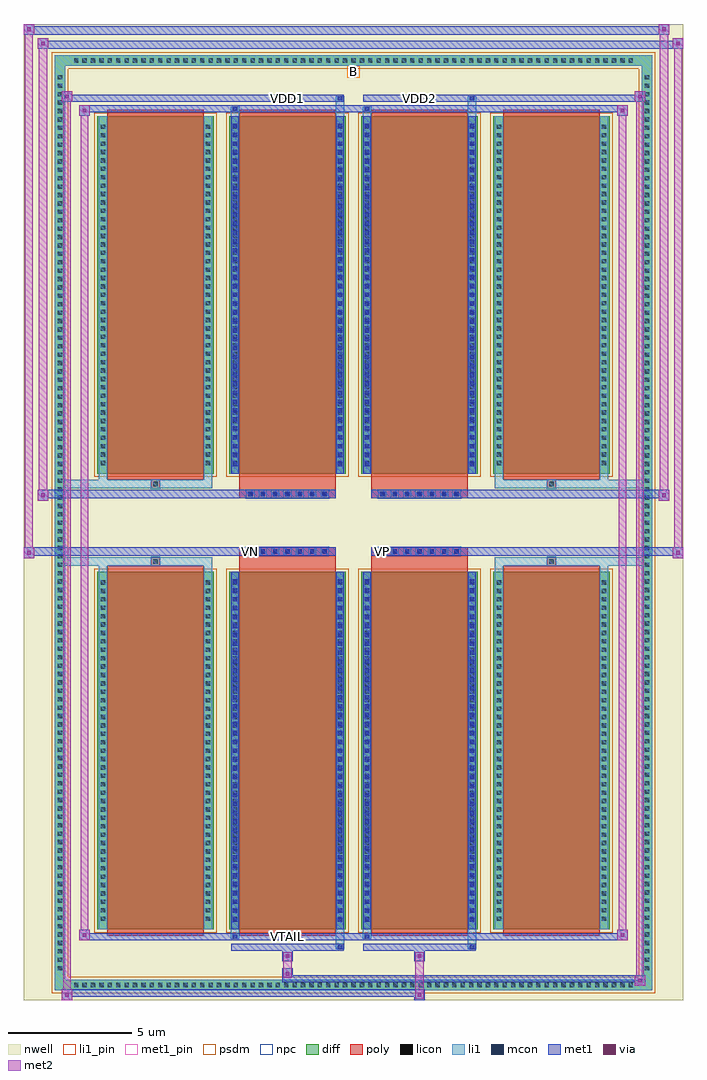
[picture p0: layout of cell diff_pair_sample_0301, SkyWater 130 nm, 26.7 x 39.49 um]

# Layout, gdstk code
import gdstk
lib = gdstk.Library(unit=1e-6, precision=5e-09)
def R(c, l, rs):  # rectangles x0, y0, x1, y1
    for r in rs: c.add(gdstk.rectangle(r[:2], r[2:], *l))
def A(c, l, x, y, w, h, nx, ny, dx, dy):  # array of equal rectangles
    R(c, l, [(x+i*dx, y+j*dy, x+i*dx+w, y+j*dy+h) for i in range(nx) for j in range(ny)])
def P(c, l, *ps):  # polygons
    for p in ps: c.add(gdstk.Polygon(p, *l))
nwell = (64, 20)
diff = (65, 20)
poly = (66, 20)
licon = (66, 44)
li1_pin = (67, 16)
li1 = (67, 20)
mcon = (67, 44)
met1_pin = (68, 16)
met1 = (68, 20)
via = (68, 44)
met2 = (69, 20)
psdm = (94, 20)
npc = (95, 20)

diff_pair_sample_0301 = lib.new_cell('diff_pair_sample_0301')
R(diff_pair_sample_0301, nwell, [(-13.35,-19.31,13.35,20.18), (-10.67,-17.5,-0.01,-0.8), (0.01,-17.5,10.67,-0.8), (-10.67,0.8,-0.01,17.5), (0.01,0.8,10.67,17.5)])
A(diff_pair_sample_0301, diff, -11.425, -18.91, 0.41, 0.41, 67, 2, 0.34, 37.41)
A(diff_pair_sample_0301, diff, -12.08, -18.225, 0.41, 0.41, 1, 107, 0, 0.34)
A(diff_pair_sample_0301, diff, 11.67, -18.225, 0.41, 0.41, 1, 107, 0, 0.34)
A(diff_pair_sample_0301, diff, -10.36, -16.455, 4.7, 14.47, 4, 2, 5.34, 18.44)
R(diff_pair_sample_0301, diff, [(-11.425,-18.91,11.425,-18.5), (-12.08,-18.225,-11.67,18.225), (11.67,-18.225,12.08,18.225), (-11.425,18.5,11.425,18.91)])
P(diff_pair_sample_0301, diff, [(12.08,18.91),(-12.08,18.91),(-12.08,-18.5),(-11.67,-18.5),(-11.67,18.5),(11.67,18.5),(11.67,-18.5),(-11.67,-18.5),(-12.08,-18.5),(-12.08,-18.91),(12.08,-18.91)])
A(diff_pair_sample_0301, poly, -9.97, -16.705, 3.92, 14.97, 4, 2, 5.34, 18.44)
A(diff_pair_sample_0301, poly, -4.335, -1.33, 0.33, 0.33, 7, 2, 0.5, 2.33)
A(diff_pair_sample_0301, poly, 1.005, -1.33, 0.33, 0.33, 7, 2, 0.5, 2.33)
R(diff_pair_sample_0301, poly, [(-8.175,-1.735,-7.845,-1.405), (-8.175,-1.735,-7.845,-1.405), (-4.63,-1.735,-0.71,-1.33), (0.71,-1.735,4.63,-1.33), (7.845,-1.735,8.175,-1.405), (7.845,-1.735,8.175,-1.405), (-4.63,-1.33,-0.71,-1), (0.71,-1.33,4.63,-1), (-4.63,1,-0.71,1.33), (0.71,1,4.63,1.33), (-4.63,1.33,-0.71,1.735), (0.71,1.33,4.63,1.735), (-8.175,1.405,-7.845,1.735), (-8.175,1.405,-7.845,1.735), (7.845,1.405,8.175,1.735), (7.845,1.405,8.175,1.735)])
A(diff_pair_sample_0301, licon, -11.305, -18.79, 0.17, 0.17, 67, 2, 0.34, 37.41)
A(diff_pair_sample_0301, licon, -11.96, -18.105, 0.17, 0.17, 1, 107, 0, 0.34)
A(diff_pair_sample_0301, licon, 11.79, -18.105, 0.17, 0.17, 1, 107, 0, 0.34)
A(diff_pair_sample_0301, licon, -10.22, -16.105, 0.17, 0.17, 1, 41, 0, 0.34)
A(diff_pair_sample_0301, licon, -5.97, -16.105, 0.17, 0.17, 1, 41, 0, 0.34)
A(diff_pair_sample_0301, licon, -4.88, -16.105, 0.17, 0.17, 1, 41, 0, 0.34)
A(diff_pair_sample_0301, licon, -0.63, -16.105, 0.17, 0.17, 1, 41, 0, 0.34)
A(diff_pair_sample_0301, licon, 0.46, -16.105, 0.17, 0.17, 1, 41, 0, 0.34)
A(diff_pair_sample_0301, licon, 4.71, -16.105, 0.17, 0.17, 1, 41, 0, 0.34)
A(diff_pair_sample_0301, licon, 5.8, -16.105, 0.17, 0.17, 1, 41, 0, 0.34)
A(diff_pair_sample_0301, licon, 10.05, -16.105, 0.17, 0.17, 1, 41, 0, 0.34)
A(diff_pair_sample_0301, licon, -4.255, -1.25, 0.17, 0.17, 7, 2, 0.5, 2.33)
A(diff_pair_sample_0301, licon, 1.085, -1.25, 0.17, 0.17, 7, 2, 0.5, 2.33)
A(diff_pair_sample_0301, licon, -10.22, 2.335, 0.17, 0.17, 1, 41, 0, 0.34)
A(diff_pair_sample_0301, licon, -5.97, 2.335, 0.17, 0.17, 1, 41, 0, 0.34)
A(diff_pair_sample_0301, licon, -4.88, 2.335, 0.17, 0.17, 1, 41, 0, 0.34)
A(diff_pair_sample_0301, licon, -0.63, 2.335, 0.17, 0.17, 1, 41, 0, 0.34)
A(diff_pair_sample_0301, licon, 0.46, 2.335, 0.17, 0.17, 1, 41, 0, 0.34)
A(diff_pair_sample_0301, licon, 4.71, 2.335, 0.17, 0.17, 1, 41, 0, 0.34)
A(diff_pair_sample_0301, licon, 5.8, 2.335, 0.17, 0.17, 1, 41, 0, 0.34)
A(diff_pair_sample_0301, licon, 10.05, 2.335, 0.17, 0.17, 1, 41, 0, 0.34)
R(diff_pair_sample_0301, licon, [(-8.095,-1.655,-7.925,-1.485), (7.925,-1.655,8.095,-1.485), (-8.095,1.485,-7.925,1.655), (7.925,1.485,8.095,1.655)])
R(diff_pair_sample_0301, li1_pin, [(-0.25,18,0.25,18.5)])
A(diff_pair_sample_0301, li1, -11.385, -18.87, 0.33, 0.33, 67, 2, 0.34, 37.41)
A(diff_pair_sample_0301, li1, -12.04, -18.185, 0.33, 0.33, 1, 107, 0, 0.34)
A(diff_pair_sample_0301, li1, 11.71, -18.185, 0.33, 0.33, 1, 107, 0, 0.34)
A(diff_pair_sample_0301, li1, -10.3, -16.185, 0.33, 0.33, 1, 41, 0, 0.34)
A(diff_pair_sample_0301, li1, -6.05, -16.185, 0.33, 0.33, 1, 41, 0, 0.34)
A(diff_pair_sample_0301, li1, -4.96, -16.185, 0.33, 0.33, 1, 41, 0, 0.34)
A(diff_pair_sample_0301, li1, -0.71, -16.185, 0.33, 0.33, 1, 41, 0, 0.34)
A(diff_pair_sample_0301, li1, 0.38, -16.185, 0.33, 0.33, 1, 41, 0, 0.34)
A(diff_pair_sample_0301, li1, 4.63, -16.185, 0.33, 0.33, 1, 41, 0, 0.34)
A(diff_pair_sample_0301, li1, 5.72, -16.185, 0.33, 0.33, 1, 41, 0, 0.34)
A(diff_pair_sample_0301, li1, 9.97, -16.185, 0.33, 0.33, 1, 41, 0, 0.34)
A(diff_pair_sample_0301, li1, -4.88, -16.145, 0.17, 0.17, 1, 39, 0, 0.36)
A(diff_pair_sample_0301, li1, -0.63, -16.145, 0.17, 0.17, 1, 39, 0, 0.36)
A(diff_pair_sample_0301, li1, 0.46, -16.145, 0.17, 0.17, 1, 39, 0, 0.36)
A(diff_pair_sample_0301, li1, 4.71, -16.145, 0.17, 0.17, 1, 39, 0, 0.36)
A(diff_pair_sample_0301, li1, -4.335, -1.33, 0.33, 0.33, 7, 2, 0.5, 2.33)
A(diff_pair_sample_0301, li1, 1.005, -1.33, 0.33, 0.33, 7, 2, 0.5, 2.33)
A(diff_pair_sample_0301, li1, -10.3, 2.255, 0.33, 0.33, 1, 41, 0, 0.34)
A(diff_pair_sample_0301, li1, -6.05, 2.255, 0.33, 0.33, 1, 41, 0, 0.34)
A(diff_pair_sample_0301, li1, -4.96, 2.255, 0.33, 0.33, 1, 41, 0, 0.34)
A(diff_pair_sample_0301, li1, -0.71, 2.255, 0.33, 0.33, 1, 41, 0, 0.34)
A(diff_pair_sample_0301, li1, 0.38, 2.255, 0.33, 0.33, 1, 41, 0, 0.34)
A(diff_pair_sample_0301, li1, 4.63, 2.255, 0.33, 0.33, 1, 41, 0, 0.34)
A(diff_pair_sample_0301, li1, 5.72, 2.255, 0.33, 0.33, 1, 41, 0, 0.34)
A(diff_pair_sample_0301, li1, 9.97, 2.255, 0.33, 0.33, 1, 41, 0, 0.34)
A(diff_pair_sample_0301, li1, -4.88, 2.295, 0.17, 0.17, 1, 39, 0, 0.36)
A(diff_pair_sample_0301, li1, -0.63, 2.295, 0.17, 0.17, 1, 39, 0, 0.36)
A(diff_pair_sample_0301, li1, 0.46, 2.295, 0.17, 0.17, 1, 39, 0, 0.36)
A(diff_pair_sample_0301, li1, 4.71, 2.295, 0.17, 0.17, 1, 39, 0, 0.36)
R(diff_pair_sample_0301, li1, [(-12.08,-18.91,-11.67,-18.5), (-12.08,-18.91,-11.67,-18.5), (-11.67,-18.91,11.67,-18.5), (11.67,-18.91,12.08,-18.5), (11.67,-18.91,12.08,-18.5), (-12.08,-18.5,-11.67,18.5), (11.67,-18.5,12.08,18.5), (-0.71,-17.26,-0.38,-16.455), (-0.63,-17.26,-0.46,-17.09), (4.63,-17.26,4.96,-16.455), (4.71,-17.26,4.88,-17.09), (-4.96,-16.83,-4.63,-16.455), (-4.88,-16.83,-4.71,-16.66), (0.38,-16.83,0.71,-16.455), (0.46,-16.83,0.63,-16.66), (-10.3,-16.455,-9.97,-1.985), (-6.05,-16.455,-5.72,-1.985), (-4.96,-16.455,-4.63,-1.985), (-0.71,-16.455,-0.38,-1.985), (0.38,-16.455,0.71,-1.985), (4.63,-16.455,4.96,-1.985), (5.72,-16.455,6.05,-1.985), (9.97,-16.455,10.3,-1.985), (-4.88,-16.145,-4.71,-2.295), (-0.63,-16.145,-0.46,-2.295), (0.46,-16.145,0.63,-2.295), (4.71,-16.145,4.88,-2.295), (-10.3,-1.985,-9.97,-1.405), (-6.05,-1.985,-5.72,-1.405), (5.72,-1.985,6.05,-1.405), (9.97,-1.985,10.3,-1.405), (-12.08,-1.735,-8.175,-1.405), (-10.3,-1.735,-8.175,-1.405), (-8.175,-1.735,-7.845,-1.405), (-7.845,-1.735,-5.72,-1.405), (5.72,-1.735,7.845,-1.405), (7.845,-1.735,8.175,-1.405), (7.845,-1.735,12.08,-1.405), (8.175,-1.735,10.3,-1.405), (-12.08,1.405,-8.175,1.735), (-10.3,1.405,-8.175,1.735), (-10.3,1.405,-9.97,1.985), (-8.175,1.405,-7.845,1.735), (-7.845,1.405,-5.72,1.735), (-6.05,1.405,-5.72,1.985), (5.72,1.405,7.845,1.735), (5.72,1.405,6.05,1.985), (7.845,1.405,8.175,1.735), (7.845,1.405,12.08,1.735), (8.175,1.405,10.3,1.735), (9.97,1.405,10.3,1.985), (-10.3,1.985,-9.97,16.455), (-6.05,1.985,-5.72,16.455), (-4.96,1.985,-4.63,16.455), (-0.71,1.985,-0.38,16.455), (0.38,1.985,0.71,16.455), (4.63,1.985,4.96,16.455), (5.72,1.985,6.05,16.455), (9.97,1.985,10.3,16.455), (-4.88,2.295,-4.71,16.145), (-0.63,2.295,-0.46,16.145), (0.46,2.295,0.63,16.145), (4.71,2.295,4.88,16.145), (-4.96,16.455,-4.63,16.83), (-0.71,16.455,-0.38,17.26), (0.38,16.455,0.71,16.83), (4.63,16.455,4.96,17.26), (-4.88,16.66,-4.71,16.83), (0.46,16.66,0.63,16.83), (-0.63,17.09,-0.46,17.26), (4.71,17.09,4.88,17.26), (-12.08,18.5,-11.67,18.91), (-12.08,18.5,-11.67,18.91), (-11.67,18.5,11.67,18.91), (11.67,18.5,12.08,18.91), (11.67,18.5,12.08,18.91)])
A(diff_pair_sample_0301, mcon, -4.88, -16.145, 0.17, 0.17, 1, 39, 0, 0.36)
A(diff_pair_sample_0301, mcon, -0.63, -16.145, 0.17, 0.17, 1, 39, 0, 0.36)
A(diff_pair_sample_0301, mcon, 0.46, -16.145, 0.17, 0.17, 1, 39, 0, 0.36)
A(diff_pair_sample_0301, mcon, 4.71, -16.145, 0.17, 0.17, 1, 39, 0, 0.36)
A(diff_pair_sample_0301, mcon, -4.255, -1.25, 0.17, 0.17, 7, 2, 0.5, 2.33)
A(diff_pair_sample_0301, mcon, 1.085, -1.25, 0.17, 0.17, 7, 2, 0.5, 2.33)
A(diff_pair_sample_0301, mcon, -4.88, 2.295, 0.17, 0.17, 1, 39, 0, 0.36)
A(diff_pair_sample_0301, mcon, -0.63, 2.295, 0.17, 0.17, 1, 39, 0, 0.36)
A(diff_pair_sample_0301, mcon, 0.46, 2.295, 0.17, 0.17, 1, 39, 0, 0.36)
A(diff_pair_sample_0301, mcon, 4.71, 2.295, 0.17, 0.17, 1, 39, 0, 0.36)
R(diff_pair_sample_0301, mcon, [(-0.63,-17.26,-0.46,-17.09), (4.71,-17.26,4.88,-17.09), (-4.88,-16.83,-4.71,-16.66), (0.46,-16.83,0.63,-16.66), (-4.88,16.66,-4.71,16.83), (0.46,16.66,0.63,16.83), (-0.63,17.09,-0.46,17.26), (4.71,17.09,4.88,17.26)])
R(diff_pair_sample_0301, met1_pin, [(-2.805,-16.87,-2.535,-16.6), (-4.305,-1.29,-4.035,-1.02), (1.035,-1.29,1.305,-1.02), (-2.805,17.05,-2.535,17.32), (2.535,17.05,2.805,17.32)])
A(diff_pair_sample_0301, met1, -4.94, -16.205, 0.29, 0.29, 1, 39, 0, 0.36)
A(diff_pair_sample_0301, met1, -0.69, -16.205, 0.29, 0.29, 1, 39, 0, 0.36)
A(diff_pair_sample_0301, met1, 0.4, -16.205, 0.29, 0.29, 1, 39, 0, 0.36)
A(diff_pair_sample_0301, met1, 4.65, -16.205, 0.29, 0.29, 1, 39, 0, 0.36)
A(diff_pair_sample_0301, met1, -4.315, -1.31, 0.29, 0.29, 7, 2, 0.5, 2.33)
A(diff_pair_sample_0301, met1, 1.025, -1.31, 0.29, 0.29, 7, 2, 0.5, 2.33)
A(diff_pair_sample_0301, met1, -4.94, 2.235, 0.29, 0.29, 1, 39, 0, 0.36)
A(diff_pair_sample_0301, met1, -0.69, 2.235, 0.29, 0.29, 1, 39, 0, 0.36)
A(diff_pair_sample_0301, met1, 0.4, 2.235, 0.29, 0.29, 1, 39, 0, 0.36)
A(diff_pair_sample_0301, met1, 4.65, 2.235, 0.29, 0.29, 1, 39, 0, 0.36)
R(diff_pair_sample_0301, met1, [(-11.81,-19.31,-11.38,-18.88), (2.455,-19.31,2.885,-18.88), (-11.81,-19.17,2.885,-18.88), (11.38,-18.74,11.81,-18.31), (-2.885,-18.6,11.81,-18.31), (-2.885,-18.46,-2.455,-18.03), (-2.885,-17.75,-2.455,-17.32), (2.455,-17.75,2.885,-17.32), (-4.94,-17.32,-0.4,-17.03), (-0.69,-17.32,-0.4,-17.03), (0.4,-17.32,4.94,-17.03), (4.65,-17.32,4.94,-17.03), (-11.1,-16.89,-10.67,-16.46), (-11.1,-16.89,-4.94,-16.6), (-4.94,-16.89,-4.65,-16.6), (-4.94,-16.89,-0.4,-16.6), (-0.4,-16.89,0.4,-16.6), (0.4,-16.89,0.69,-16.6), (0.4,-16.89,4.94,-16.6), (4.94,-16.89,11.1,-16.6), (10.67,-16.89,11.1,-16.46), (-4.94,-16.455,-4.65,-1.985), (-0.69,-16.455,-0.4,-1.985), (0.4,-16.455,0.69,-1.985), (4.65,-16.455,4.94,-1.985), (-13.35,-1.43,-12.92,-1), (12.92,-1.43,13.35,-1), (-13.35,-1.33,-0.71,-1), (-4.63,-1.33,-0.71,-1), (0.71,-1.33,4.63,-1), (0.71,-1.33,13.35,-1), (-12.78,0.9,-12.35,1.33), (12.35,0.9,12.78,1.33), (-12.78,1,-4.63,1.33), (-4.63,1,-0.71,1.33), (0.71,1,4.63,1.33), (4.63,1,12.78,1.33), (-4.94,1.985,-4.65,16.455), (-0.69,1.985,-0.4,16.455), (0.4,1.985,0.69,16.455), (4.65,1.985,4.94,16.455), (-11.1,16.46,-10.67,16.89), (10.67,16.46,11.1,16.89), (-11.1,16.6,-4.94,16.89), (-4.94,16.6,-4.65,16.89), (-4.94,16.6,-0.4,16.89), (-0.4,16.6,0.4,16.89), (0.4,16.6,0.69,16.89), (0.4,16.6,4.94,16.89), (4.94,16.6,11.1,16.89), (-11.81,17.03,-11.38,17.46), (-11.81,17.03,-4.94,17.32), (-4.94,17.03,-0.4,17.32), (-0.69,17.03,-0.4,17.32), (0.4,17.03,4.94,17.32), (4.65,17.03,4.94,17.32), (4.94,17.03,11.81,17.32), (11.38,17.03,11.81,17.46), (-12.78,19.18,-12.35,19.61), (-12.78,19.18,-10.67,19.51), (-10.67,19.18,10.67,19.51), (10.67,19.18,13.35,19.51), (12.92,19.18,13.35,19.61), (-13.35,19.75,-12.92,20.18), (-13.35,19.75,-10.67,20.08), (-10.67,19.75,10.67,20.08), (10.67,19.75,12.78,20.08), (12.35,19.75,12.78,20.18)])
R(diff_pair_sample_0301, via, [(-11.67,-19.17,-11.52,-19.02), (2.595,-19.17,2.745,-19.02), (11.52,-18.6,11.67,-18.45), (-2.745,-18.32,-2.595,-18.17), (-2.745,-17.61,-2.595,-17.46), (2.595,-17.61,2.745,-17.46), (-10.96,-16.75,-10.81,-16.6), (10.81,-16.75,10.96,-16.6), (-13.21,-1.29,-13.06,-1.14), (13.06,-1.29,13.21,-1.14), (-12.64,1.04,-12.49,1.19), (12.49,1.04,12.64,1.19), (-10.96,16.6,-10.81,16.75), (10.81,16.6,10.96,16.75), (-11.67,17.17,-11.52,17.32), (11.52,17.17,11.67,17.32), (-12.64,19.32,-12.49,19.47), (13.06,19.32,13.21,19.47), (-13.21,19.89,-13.06,20.04), (12.49,19.89,12.64,20.04)])
R(diff_pair_sample_0301, met2, [(-11.81,-19.31,-11.38,-18.88), (-11.74,-19.31,-11.45,17.46), (-11.45,-19.31,-11.38,-18.88), (-11.76,-19.26,-11.43,-18.93), (2.505,-19.26,2.835,-18.93), (2.505,-18.93,2.835,-17.7), (11.38,-18.74,11.81,-18.31), (11.45,-18.74,11.74,17.46), (11.74,-18.74,11.81,-18.31), (11.43,-18.69,11.76,-18.36), (-2.835,-18.41,-2.505,-18.08), (-2.835,-18.08,-2.505,-17.7), (-2.835,-17.7,-2.505,-17.37), (2.505,-17.7,2.835,-17.37), (-11.1,-16.89,-10.67,-16.46), (-11.03,-16.89,-10.74,16.89), (-10.74,-16.89,-10.67,-16.46), (10.67,-16.89,11.1,-16.46), (10.74,-16.89,11.03,16.89), (11.03,-16.89,11.1,-16.46), (-11.05,-16.84,-10.72,-16.51), (10.72,-16.84,11.05,-16.51), (-13.35,-1.43,-12.92,-1), (-13.3,-1.43,-12.97,20.18), (-12.97,-1.43,-12.92,-1), (12.92,-1.43,13.35,-1), (12.97,-1.43,13.3,19.61), (13.3,-1.43,13.35,-1), (-13.3,-1.38,-12.97,-1.05), (12.97,-1.38,13.3,-1.05), (-12.78,0.9,-12.35,1.33), (-12.73,0.9,-12.4,19.61), (-12.4,0.9,-12.35,1.33), (12.35,0.9,12.78,1.33), (12.4,0.9,12.73,20.18), (12.73,0.9,12.78,1.33), (-12.73,0.95,-12.4,1.28), (12.4,0.95,12.73,1.28), (-11.1,16.46,-10.67,16.89), (-10.74,16.46,-10.67,16.89), (10.67,16.46,11.1,16.89), (11.03,16.46,11.1,16.89), (-11.05,16.51,-10.72,16.84), (10.72,16.51,11.05,16.84), (-11.81,17.03,-11.38,17.46), (-11.45,17.03,-11.38,17.46), (11.38,17.03,11.81,17.46), (11.74,17.03,11.81,17.46), (-11.76,17.08,-11.43,17.41), (11.43,17.08,11.76,17.41), (-12.78,19.18,-12.35,19.61), (-12.4,19.18,-12.35,19.61), (12.92,19.18,13.35,19.61), (13.3,19.18,13.35,19.61), (-12.73,19.23,-12.4,19.56), (12.97,19.23,13.3,19.56), (-13.35,19.75,-12.92,20.18), (-12.97,19.75,-12.92,20.18), (12.35,19.75,12.78,20.18), (12.73,19.75,12.78,20.18), (-13.3,19.8,-12.97,20.13), (12.4,19.8,12.73,20.13)])
A(diff_pair_sample_0301, psdm, -10.49, -16.585, 4.96, 14.73, 4, 2, 5.34, 18.44)
P(diff_pair_sample_0301, psdm, [(12.21,19.04),(-12.21,19.04),(-12.21,-18.37),(-11.54,-18.37),(-11.54,18.37),(11.54,18.37),(11.54,-18.37),(-11.54,-18.37),(-12.21,-18.37),(-12.21,-19.04),(12.21,-19.04)])
A(diff_pair_sample_0301, npc, -4.355, -1.35, 0.37, 0.37, 7, 2, 0.5, 2.33)
A(diff_pair_sample_0301, npc, 0.985, -1.35, 0.37, 0.37, 7, 2, 0.5, 2.33)
R(diff_pair_sample_0301, npc, [(-8.195,-1.755,-7.825,-1.385), (7.825,-1.755,8.195,-1.385), (-4.355,-1.35,-3.485,-0.98), (-4.355,-1.35,-3.485,-0.98), (-3.855,-1.35,-2.985,-0.98), (-3.855,-1.35,-2.985,-0.98), (-3.355,-1.35,-2.485,-0.98), (-3.355,-1.35,-2.485,-0.98), (-2.855,-1.35,-1.985,-0.98), (-2.855,-1.35,-1.985,-0.98), (-2.355,-1.35,-1.485,-0.98), (-2.355,-1.35,-1.485,-0.98), (-1.855,-1.35,-0.985,-0.98), (-1.855,-1.35,-0.985,-0.98), (0.985,-1.35,1.855,-0.98), (0.985,-1.35,1.855,-0.98), (1.485,-1.35,2.355,-0.98), (1.485,-1.35,2.355,-0.98), (1.985,-1.35,2.855,-0.98), (1.985,-1.35,2.855,-0.98), (2.485,-1.35,3.355,-0.98), (2.485,-1.35,3.355,-0.98), (2.985,-1.35,3.855,-0.98), (2.985,-1.35,3.855,-0.98), (3.485,-1.35,4.355,-0.98), (3.485,-1.35,4.355,-0.98), (-4.355,0.98,-3.485,1.35), (-4.355,0.98,-3.485,1.35), (-3.855,0.98,-2.985,1.35), (-3.855,0.98,-2.985,1.35), (-3.355,0.98,-2.485,1.35), (-3.355,0.98,-2.485,1.35), (-2.855,0.98,-1.985,1.35), (-2.855,0.98,-1.985,1.35), (-2.355,0.98,-1.485,1.35), (-2.355,0.98,-1.485,1.35), (-1.855,0.98,-0.985,1.35), (-1.855,0.98,-0.985,1.35), (0.985,0.98,1.855,1.35), (0.985,0.98,1.855,1.35), (1.485,0.98,2.355,1.35), (1.485,0.98,2.355,1.35), (1.985,0.98,2.855,1.35), (1.985,0.98,2.855,1.35), (2.485,0.98,3.355,1.35), (2.485,0.98,3.355,1.35), (2.985,0.98,3.855,1.35), (2.985,0.98,3.855,1.35), (3.485,0.98,4.355,1.35), (3.485,0.98,4.355,1.35), (-8.195,1.385,-7.825,1.755), (7.825,1.385,8.195,1.755)])
diff_pair_sample_0301.add(gdstk.Label('VTAIL', (-2.67,-16.735), layer=68, texttype=5))
diff_pair_sample_0301.add(gdstk.Label('VN', (-4.17,-1.155), layer=68, texttype=5))
diff_pair_sample_0301.add(gdstk.Label('VP', (1.17,-1.155), layer=68, texttype=5))
diff_pair_sample_0301.add(gdstk.Label('B', (0,18.25), layer=67, texttype=5))
diff_pair_sample_0301.add(gdstk.Label('VDD2', (2.67,17.185), layer=68, texttype=5))
diff_pair_sample_0301.add(gdstk.Label('VDD1', (-2.67,17.185), layer=68, texttype=5))

lib.write_gds('diff_pair_sample_0301.gds')
